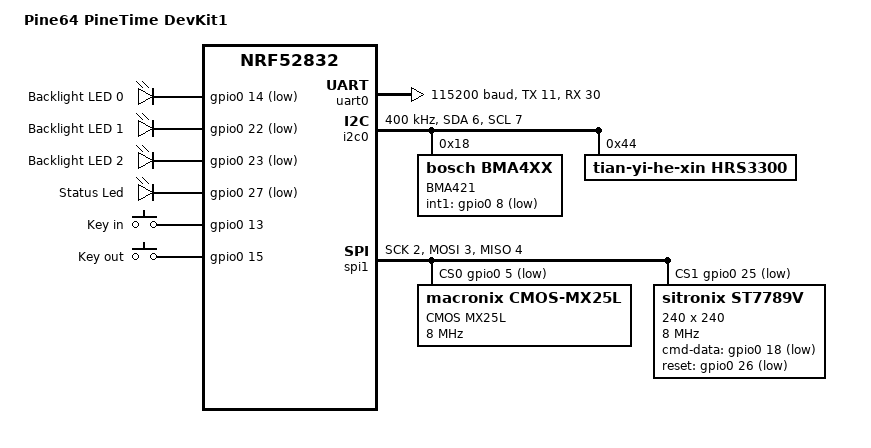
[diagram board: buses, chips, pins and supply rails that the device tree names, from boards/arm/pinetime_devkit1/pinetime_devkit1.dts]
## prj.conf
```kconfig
CONFIG_HEAP_MEM_POOL_SIZE=16384
CONFIG_MAIN_STACK_SIZE=2048

CONFIG_DISPLAY=y
CONFIG_DISPLAY_LOG_LEVEL_ERR=y
CONFIG_LOG=y
CONFIG_LVGL=y
CONFIG_NEWLIB_LIBC=y


# Bluetooth
CONFIG_BT=y
CONFIG_BT_PERIPHERAL=y
#CONFIG_BT_GATT_DIS=y
CONFIG_BT_ATT_PREPARE_COUNT=5
CONFIG_BT_DEVICE_APPEARANCE=833
CONFIG_BT_DEVICE_NAME_DYNAMIC=y
CONFIG_BT_DEVICE_NAME_MAX=65
CONFIG_BT_GATT_CLIENT=y
# Let DIS information be read from settings
CONFIG_BT_SETTINGS=y
CONFIG_SETTINGS_RUNTIME=y
CONFIG_SETTINGS=y
CONFIG_SETTINGS_NONE=y
```

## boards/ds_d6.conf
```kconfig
CONFIG_HEAP_MEM_POOL_SIZE=16384
CONFIG_MAIN_STACK_SIZE=2048

CONFIG_LVGL_FONT_MONTSERRAT_28=n
CONFIG_LVGL_FONT_MONTSERRAT_14=y
#CONFIG_LVGL_DISPLAY_DEV_NAME="SSD1306"

CONFIG_LVGL_USE_LABEL=y
CONFIG_LVGL_USE_CONT=y
CONFIG_LVGL_USE_THEME_MATERIAL=n
CONFIG_LVGL_TXT_ENC_UTF8=y
CONFIG_LVGL_FONT_UNSCII_8=n
CONFIG_LVGL_VDB_SIZE=64
#CONFIG_LVGL_VDB_SIZE=2
CONFIG_USE_SEGGER_RTT=y
CONFIG_LVGL_USE_THEME_MONO=y
CONFIG_LVGL_THEME_DEFAULT_COLOR_PRIMARY_WHITE=y
CONFIG_LVGL_THEME_DEFAULT_COLOR_SECONDARY_BLACK=y
# Time functions
CONFIG_NEWLIB_LIBC=y
#CONFIG_LVGL_POINTER_KSCAN=y
```

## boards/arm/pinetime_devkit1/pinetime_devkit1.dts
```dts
/*
 * Copyright (c) 2021 <najnesnaj@yahoo.com>
 *
 * SPDX-License-Identifier: Apache-2.0
 *
 * DTS for Pine64 PineTime DevKit-1 board
 * Further info: https://wiki.pine64.org/index.php/PineTime
 *
 */

/dts-v1/;
#include <nordic/nrf52832_qfaa.dtsi>

/ {
	model = "Pine64 PineTime DevKit1";
	compatible = "pine64,pinetime-devkit1";

	chosen {
		zephyr,console = &uart0;
		zephyr,shell-uart = &uart0;
		zephyr,bt-mon-uart = &uart0;
		zephyr,bt-c2h-uart = &uart0;
		zephyr,sram = &sram0;
		zephyr,flash = &flash0;
		zephyr,code-partition = &slot0_partition;
	};

	aliases {
		led0 = &blled0;	/* backlight low */
		led1 = &blled1;	/* backlight mid */
		led2 = &blled2;	/* backlight high */
		led3 = &statusled;	/* status led, may be not populated */
		sw0 = &key_in;  /* key in */
		sw1 = &key_out;  /* key out */
/*		kscan0 = &touch_controller;*/
	};

	leds {
		compatible = "gpio-leds";
		blled0: bl_led_0 {
			gpios = <&gpio0 14 GPIO_ACTIVE_LOW>;
			label = "Backlight LED 0";
		};
		blled1: bl_led_1 {
			gpios = <&gpio0 22 GPIO_ACTIVE_LOW>;
			label = "Backlight LED 1";
		};
		blled2: bl_led_2 {
			gpios = <&gpio0 23 GPIO_ACTIVE_LOW>;
			label = "Backlight LED 2";
		};
		statusled: led_3 {
			gpios = <&gpio0 27 GPIO_ACTIVE_LOW>;
			label = "Status Led";
		};
	};

	buttons {
		compatible = "gpio-keys";
		key_in: button_0 {
			gpios = <&gpio0 13 GPIO_ACTIVE_HIGH>;
			label = "Key in";
		};
		key_out: button_1 {
			gpios = <&gpio0 15 GPIO_ACTIVE_HIGH>;
			label = "Key out";
		};
	};
};

&gpiote {
	status = "okay";
};

&gpio0 {
	status = "okay";
};

&uart0 {
	compatible = "nordic,nrf-uart";
	current-speed = <115200>;
	status = "okay";
	tx-pin = <11>;
	rx-pin = <30>;
};

&i2c0 {
	compatible = "nordic,nrf-twim";
	status = "okay";
	sda-pin = <6>;
	scl-pin = <7>;
	clock-frequency = <I2C_BITRATE_FAST>; /* 400KHz */

	/* BOSCH BMA421 Triaxial Acceleration Sensor (1000KHz) */
	bma421: bma421@18 {
		compatible = "bosch,bma4xx";
		reg = <0x18>;
		label = "BMA421";
		int1-gpios = <&gpio0 8 GPIO_ACTIVE_LOW>;
	};

	/* TianYiHeXin HRS3300 PPG Hear Rate Sensor (800KHz) */
	hrs3300: hrs3300@44 {
		compatible = "tian-yi-he-xin,hrs3300";
		reg = <0x44>;
		label = "HRS3300";
	};
        //touch_controller: ft5336@38 {
/*        touch_controller: ft9999@15 {
                compatible = "focaltech,ft9999";
                //reg = <0x38>;
                reg = <0x15>;
                label = "FT9999";
                //int-gpios = <&gpio0 11 GPIO_ACTIVE_LOW>;
                int-gpios = <&gpio0 28 GPIO_ACTIVE_LOW>;
		//rst-gpios = <&gpio0 10 GPIO_ACTIVE_LOW>;
        };
*/
	/* Hynitron CST816S Capacitive Touch Controller (400KHz) */
/*	cst816s: cst816s@15 {
		compatible = "hynitron,cst816s";
		reg = <0x15>;
		label = "CST816S";
		irq-gpios = <&gpio0 28 GPIO_ACTIVE_LOW>;
		rst-gpios = <&gpio0 10 GPIO_ACTIVE_LOW>;
	};*/
};

&spi1 {
	compatible = "nordic,nrf-spi";
	status = "okay";
	sck-pin = <2>;
	mosi-pin = <3>;
	miso-pin = <4>;

	cs-gpios = <&gpio0 5 GPIO_ACTIVE_LOW>, <&gpio0 25 GPIO_ACTIVE_LOW>;

	/* Macronix MX25L CMOS Flash Memory */
	mx25l: mx25l@0 {
		compatible = "macronix,cmos-mx25l";
		reg = <0>;
		spi-max-frequency = <8000000>; /* 8MHz */
		label = "CMOS MX25L";
	};

	/* Sitronix ST7789V LCD */
	st7789v: st7789v@1 {
		compatible = "sitronix,st7789v";
		reg = <1>;
		spi-max-frequency = <8000000>; /* 8MHz */
		label = "ST7789V";
		cmd-data-gpios = <&gpio0 18 GPIO_ACTIVE_LOW>;	/* DET */
		reset-gpios = <&gpio0 26 GPIO_ACTIVE_LOW>;	/* RESX reset */
		width = <240>;
		height = <240>;
		x-offset = <0>;
		y-offset = <0>;
		vcom = <0x19>;
		gctrl = <0x35>;
		vrhs = <0x12>;
		vdvs = <0x20>;
		mdac = <0x00>;
		gamma = <0x01>;
		colmod = <0x05>;
		lcm = <0x2c>;
		porch-param = [0c 0c 00 33 33];
		cmd2en-param = [5a 69 02 01];
		pwctrl1-param = [a4 a1];
		pvgam-param = [D0 04 0D 11 13 2B 3F 54 4C 18 0D 0B 1F 23];
		nvgam-param = [D0 04 0C 11 13 2C 3F 44 51 2F 1F 1F 20 23];
		ram-param = [00 F0];
		rgb-param = [CD 08 14];
	};
};

&flash0 {
	partitions {
		compatible = "fixed-partitions";
		#address-cells = <1>;
		#size-cells = <1>;

		/* MCUboot bootloader */
		boot_partition: partition@0 {
			label = "mcuboot";
			reg = <0x00000000 0xc000>;
		};

		/* main firmware partition */
		slot0_partition: partition@c000 {
			label = "image-0";
			reg = <0x0000C000 0x32000>;
		};

		/* next firmware update */
		slot1_partition: partition@3e000 {
			label = "image-1";
			reg = <0x0003E000 0x32000>;
		};

		/* needed to slot0-slot1 swapping */
		scratch_partition: partition@70000 {
			label = "image-scratch";
			reg = <0x00070000 0xa000>;
		};

		/* to be used in firmware */
		storage_partition: partition@7a000 {
			label = "storage";
			reg = <0x0007a000 0x00006000>;
		};
	};
};
```

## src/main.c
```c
/*

 * Copyright (c) 2021 <najnesnaj@yahoo.com>
 *
 * SPDX-License-Identifier: Apache-2.0
 */

#include <device.h>
#include <drivers/display.h>
#include <drivers/gpio.h>
#include <lvgl.h>
#include <stdio.h>
#include <string.h>
#include <zephyr.h>
#include "clock.h"
#include "log.h"
#include "display.h"
#include "event_handler.h"
#include "bt.h"

void main(void)
{
#if !(defined(CONFIG_BOARD_NATIVE_POSIX_64BIT)) //both the pinetime & ds_d6 have a real button 
	{
		init_button();
	}
#endif
	display_init();
	clock_init();
	event_handler_init();
        bt_init();
	while (1) {
		lv_task_handler();
		k_sleep(K_MSEC(100));
	}
}
```

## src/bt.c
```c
/*
 * Copyright (c) 2012-2014 Wind River Systems, Inc.
 * Copyright (c) 2015-2016 Intel Corporation
 * Copyright (c) 2020 Endian Technologies AB
 * Copyright (c) 2020 max00
 * Copyright (c) 2020 Prevas A/S
 * Copyright (c) 2021 najnesnaj@yahoo.com 
 * 
 * SPDX-License-Identifier: Apache-2.0
 */

#include <zephyr/types.h>
#include <stddef.h>
#include <stdbool.h>
#include <string.h>
#include <sys/byteorder.h>
#include <zephyr.h>

#include <settings/settings.h>

#include <bluetooth/bluetooth.h>
#include <bluetooth/hci.h>
#include <bluetooth/conn.h>
#include <bluetooth/uuid.h>
#include <bluetooth/gatt.h>

#ifdef CONFIG_MCUMGR
#include <mgmt/smp_bt.h>
#endif

#include "cts_sync.h"
#include "gfx.h"
#include "log.h"
#include "version.h"
#include "clock.h" //clock_show_time
#include "display.h"
/* ********** Function prototypes ********** */
static void connected(struct bt_conn *conn, uint8_t err);
static void disconnected(struct bt_conn *conn, uint8_t reason);
static bool le_param_req(struct bt_conn *conn, struct bt_le_conn_param *param);
static void le_param_updated(struct bt_conn *conn, uint16_t interval, uint16_t latency, uint16_t timeout);

/* ********** Variables ********** */

static struct k_work advertise_work;

static const struct bt_data ad[] = {
	BT_DATA_BYTES(BT_DATA_FLAGS, (BT_LE_AD_GENERAL | BT_LE_AD_NO_BREDR)),
	/* Device information */
	BT_DATA_BYTES(BT_DATA_UUID16_ALL,
		      0x0a, 0x18),
	/* Current time */
	BT_DATA_BYTES(BT_DATA_UUID16_ALL,
		      //0x05, 0x18),
		      0x06, 0x18),
#ifdef CONFIG_MCUMGR
	/* SMP */
	BT_DATA_BYTES(BT_DATA_UUID128_ALL,
		      0x84, 0xaa, 0x60, 0x74, 0x52, 0x8a, 0x8b, 0x86,
		      0xd3, 0x4c, 0xb7, 0x1d, 0x1d, 0xdc, 0x53, 0x8d),
#endif
};

static struct bt_conn_cb m_conn_callbacks = {
	.connected = connected,
	.disconnected = disconnected,
	.le_param_req = le_param_req,
	.le_param_updated = le_param_updated
};

static struct bt_le_adv_param param = BT_LE_ADV_PARAM_INIT(
	BT_LE_ADV_OPT_CONNECTABLE | BT_LE_ADV_OPT_USE_NAME,
	BT_GAP_ADV_SLOW_INT_MIN,
	BT_GAP_ADV_SLOW_INT_MAX,
	NULL
);

/* ********** Functions ********** */
static int settings_runtime_load(void)
{/*
#if defined(CONFIG_BOARD_PINETIME)
	settings_runtime_set("bt/dis/model",
			     "PineTime",
			     sizeof("PineTime"));
	settings_runtime_set("bt/dis/manuf",
			     "PINE64",
			     sizeof("PINE64"));
	settings_runtime_set("bt/dis/hw",
			     "1.0a",
			     sizeof("1.0a"));
#endif
#if defined(CONFIG_BOARD_P8)
	settings_runtime_set("bt/dis/model",
			     "P8",
			     sizeof("P8"));
	settings_runtime_set("bt/dis/manuf",
			     "Colmi",
			     sizeof("Colmi"));
#endif
#if defined(CONFIG_BOARD_DS_D6)
	settings_runtime_set("bt/dis/model",
			     "ds_d6",
			     sizeof("ds_d6"));
	settings_runtime_set("bt/dis/manuf",
			     "Desay",
			     sizeof("desay"));
#endif
#if defined(CONFIG_BOARD_NATIVE_POSIX_64)
	settings_runtime_set("bt/dis/model",
			     "posix_64",
			     sizeof("posix_64"));
	settings_runtime_set("bt/dis/manuf",
			     "Native",
			     sizeof("Native"));
#endif
	*/
	settings_runtime_set("bt/dis/sw",
			     CONFIG_BT_DEVICE_NAME,
			     sizeof(CONFIG_BT_DEVICE_NAME));
	settings_runtime_set("bt/dis/fw",
			     FW_VERSION,
			     sizeof(FW_VERSION));
	return 0;
}

static void advertise(struct k_work *work)
{
	int rc;

	bt_le_adv_stop();

	rc = bt_le_adv_start(&param, ad, ARRAY_SIZE(ad), NULL, 0);
	if (rc) {
		LOG_ERR("Advertising failed to start (rc %d)", rc);
		return;
	}

	LOG_INF("Advertising successfully started");
}

static void connected(struct bt_conn *conn, uint8_t err)
{
	printk("test\n");
	if (err) {
		return;
	}
	LOG_INF("connected");
	cts_sync_enable(true);
	display_connect_event();
	//delay of some sort    todo jj
	clock_show_time();
}

static void disconnected(struct bt_conn *conn, uint8_t reason)
{
	LOG_INF("disconnected (reason: %u)", reason);
	cts_sync_enable(false);
	display_disconnect_event(); //shows first screen
	//display_set_bluetooth_disconnected(); //bt-symbol is displayed -- readability is not top...
	//gfx_bt_set_label(BT_ADVERTISING_ON);
	//gfx_update();
}

static bool le_param_req(struct bt_conn *conn, struct bt_le_conn_param *param)
{
	return true;
}

static void le_param_updated(struct bt_conn *conn, uint16_t interval, uint16_t latency, uint16_t timeout)
{

}

void bt_init(void)
{
	int err = bt_enable(NULL);
	if (err) {
		LOG_ERR("Bluetooth init failed (err %d)", err);
		return;
	}

	settings_load();
	settings_runtime_load();

	k_work_init(&advertise_work, advertise);
	bt_conn_cb_register(&m_conn_callbacks);
		LOG_INF("bt init callback started\n");

	k_work_submit(&advertise_work);
#ifdef CONFIG_MCUMGR
	/* Initialize the Bluetooth mcumgr transport. */
	smp_bt_register();
#endif
	cts_sync_init();

	LOG_INF("Bluetooth initialized"); //jj
	LOG_DBG("Bluetooth initialized");
}

void bt_adv_stop(void)
{
	k_sleep(K_MSEC(400));

	int err = bt_le_adv_stop();
	if (err) {
		LOG_ERR("Advertising failed to stop (err %d)", err);
		return;
	}
}
```

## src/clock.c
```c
/*
 * Copyright (c) 2021 najnesnaj@yahoo.com
 *
 * SPDX-License-Identifier: Apache-2.0
 */

#include <zephyr.h>
#include <time.h>
#include <stdio.h>
#include <stdlib.h>
#include <zephyr/types.h>
#include "battery.h"
#include "bt.h"
#include "version.h"
#include "cts_sync.h"
#include "log.h"
#include "event_handler.h"
#include "display.h"

/* ********** ********** VARIABLES ********** ********** */
static char time_label_str[32];
static char date_label_str[32];
typedef unsigned long long  u64_t;

static u64_t uptime_ms;
static u64_t last_uptime_ms;
static u64_t elapsed_ms;

static struct tm ti = {
	.tm_sec = 0,
	.tm_min = 0,
	.tm_hour = 0,
	.tm_mday = 0,
	.tm_mon = 0,
	.tm_year = 0,
	.tm_wday = 0,
};

static struct tm calendar1 = {
        .tm_sec = 0,
        .tm_min = 0,
        .tm_hour = 0,
        .tm_mday = 0,
        .tm_mon = 0,
        .tm_year = 0,
        .tm_wday = 0,
};


/* ********** ********** FUNCTIONS *********** ********** */
void clock_str_to_local_time(const char *str)
{
	if (sscanf(str, "%d-%d-%dT%d:%d:%d", &ti.tm_year, &ti.tm_mon,
		   &ti.tm_mday, &ti.tm_hour, &ti.tm_min, &ti.tm_sec) != 6) {
		LOG_ERR("Failed to parse time of build.");
	}
	ti.tm_year-=1900;
	ti.tm_mon-=1;
	mktime(&ti);
}

void clock_init()
{
	/* Set time to time of build */
	clock_str_to_local_time(TIME_OF_BUILD);
	LOG_DBG("Time set to time of build");
	LOG_DBG("Clock init: Done");
}

void clock_update_elapsed_ms()
{
	uptime_ms = k_uptime_get();
	elapsed_ms = uptime_ms - last_uptime_ms;
	last_uptime_ms = uptime_ms;
	LOG_INF("Clock updated: "); //jj
}

/* Called by cts sync */
void clock_sync_time(cts_datetime_t *cts)
{
	calendar1.tm_year = cts->year -1900;
	calendar1.tm_mon = cts->month -1;
	calendar1.tm_mday = cts->day;
	calendar1.tm_hour = cts->hours;
	calendar1.tm_min = cts->minutes;
	calendar1.tm_sec = cts->seconds;
//	mktime(&calendar1);
//	clock_update_elapsed_ms();
}

/* Called by event handler */
void clock_increment_local_time()
{
	clock_update_elapsed_ms();
	ti.tm_sec += elapsed_ms / 1000;
	mktime(&ti);
}

void clock_show_time()
{
	strftime(time_label_str, 32, "%H:%M", &ti);
	strftime(date_label_str, 32, "%a %d %b", &ti);
	display_time_set_label(time_label_str);
	display_date_set_label(date_label_str);
}
```

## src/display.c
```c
/*
 * Copyright (c) 2021 <najnesnaj@yahoo.com>
 *
 * SPDX-License-Identifier: Apache-2.0
 */

#include <device.h>
#include <drivers/display.h>
#include <drivers/gpio.h>
#include <lvgl.h>
#include <stdio.h>
#include <string.h>
#include <zephyr.h>

#include "display.h"
#include "buttons.h"
#include "clock.h"
#include "event_handler.h"
#include <logging/log.h>
LOG_MODULE_REGISTER(display, 3);

const static struct device * display_dev;

#define SCREEN_ID_0    0
#define SCREEN_ID_1    1
#define SCREEN_ID_2    2
#define SCREEN_ID_3    3
//#define SCREEN_COUNT   4 //last screen reserved for bt connect event
#define SCREEN_COUNT   3


#define PARAM_TOTAL 6 //total number of parameters


char * param_label[] = {
        "temp1",
        "timer1",
        "temp2",
        "timer2",
        "temp3",
        "timer3"
};

int param[6]={10,20,30,40,50,60};





enum battery_symbol {
        BAT_CHARGE,
        BAT_FULL,
        BAT_3,
        BAT_2,
        BAT_1,
        BAT_EMPTY
};

/*

void display_timer_handler(struct k_timer * timer);
void display_task_handler(struct k_work * work);

K_TIMER_DEFINE(display_timer, display_timer_handler, NULL);

K_WORK_DEFINE(display_work, display_task_handler);

#define TICK_PERIOD   (10)

void display_task_handler(struct k_work * work)
{
	lv_tick_inc(TICK_PERIOD);
	lv_task_handler();
}

void display_timer_handler(struct k_timer * timer)
{
	k_work_submit(&display_work);
}

*/

typedef struct {
	lv_obj_t * screen;
	int        count;
} screens_t;

/*---------------------------------------------------------------------------*/

static lv_obj_t   * button_obj;
static lv_obj_t   * screen0_label0_obj;
static lv_obj_t *time_label;
static lv_obj_t *date_label;
static lv_obj_t *title_label;
static lv_obj_t *battery_label;
static lv_obj_t *date_label;




static lv_obj_t   * screen1_label0_obj; 
static lv_obj_t   * screen1_label1_obj; 

//static lv_obj_t   * screen2_label0_obj; 
static lv_obj_t   * screen2_label1_obj; 
static lv_obj_t   * screen2_label2_obj; 

static screens_t screens [] = {
	{ .screen = NULL, .count = 1 },
	{ .screen = NULL, .count = 2 },
	{ .screen = NULL, .count = 3 },
	{ .screen = NULL, .count = 0 },
};
#define SCREENS_COUNT (sizeof(screens)/sizeof(screens[0]))

/*---------------------------------------------------------------------------*/
/*                                                                           */
/*---------------------------------------------------------------------------*/
void display_time_set_label(char *str)
{
	lv_label_set_text(time_label, str);
}
void display_date_set_label(char *str)
{
	lv_label_set_text(date_label, str);
}


//parameters are displayed on screen2
void display_label()
{
        screen2_label1_obj=lv_label_create(lv_scr_act(), NULL);
        lv_obj_align(screen2_label1_obj, lv_scr_act(), LV_ALIGN_IN_TOP_LEFT, 0, 0);
        screen2_label2_obj=lv_label_create(lv_scr_act(), NULL);
        lv_obj_align(screen2_label2_obj, lv_scr_act(), LV_ALIGN_IN_TOP_RIGHT, 0, 0);
}


void show_label(int parnr)
{
        char snum[5];
        sprintf(snum, "%d",param[parnr]);
        lv_label_set_text(screen2_label1_obj, param_label[parnr]);
        lv_label_set_text(screen2_label2_obj, snum);
}







void display_clock_update() // jj the clock apears in the first screen only 
{
             //                                   lv_scr_load(screens[0].screen);



}

/*---------------------------------------------------------------------------*/
/*        todo                                                               */
/*        kscan_touch works for pinetime                                     */
/*        have not found a way to do this out of tree                        */
/*        some minor modification of the focaltech driver is needed          */
/*---------------------------------------------------------------------------*/
/*
#if defined(CONFIG_LVGL_POINTER_KSCAN) 


static void button_event_cb(lv_obj_t * obj, lv_event_t event)
{
	static int screen_id = 0;  // init to first screen id
	static int param_id  = 0;  // init to first parameter index

	switch(event) {
		case LV_EVENT_PRESSED:
			break; 
		case LV_EVENT_SHORT_CLICKED:
			LOG_INF("Short clicked\n");
			break;

		case LV_EVENT_CLICKED:
			clock_increment_local_time();

			LOG_INF("Clicked\n");
			break;

		case LV_EVENT_LONG_PRESSED:
			clock_increment_local_time();
			clock_show_time();
			LOG_INF("Long press\n");
			break;

		case LV_EVENT_LONG_PRESSED_REPEAT:

			//this can be configured in menuconfig 
			//standard value < long_pressed
						screen_id++;
						if (screen_id >= SCREEN_COUNT)
						screen_id = 0;
						lv_scr_load(screens[screen_id].screen);
						param_id = 0;
						LOG_INF("BTN1: screen_id(%d)", screen_id);
			//   handle_button_event();



			LOG_INF("Long press repeat\n");
			break;

		case LV_EVENT_RELEASED:
			LOG_INF("Released\n");
			break;
	}

}
#endif
*/

/*---------------------------------------------------------------------------*/
/*                                                                           */
/*---------------------------------------------------------------------------*/
//todo if no touch screen define real button ds_d6




void display_battery(enum battery_symbol s)
{
        switch (s) {
                case BAT_CHARGE:
                        lv_label_set_text(battery_label, LV_SYMBOL_CHARGE);
                        break;
                case BAT_FULL:
                        lv_label_set_text(battery_label, LV_SYMBOL_BATTERY_FULL);
                        break;
                case BAT_3:
                        lv_label_set_text(battery_label, LV_SYMBOL_BATTERY_3);
                        break;
                case BAT_2:
                        lv_label_set_text(battery_label, LV_SYMBOL_BATTERY_2);
                        break;
                case BAT_1:
                        lv_label_set_text(battery_label, LV_SYMBOL_BATTERY_1);
                        break;
                default:
                        lv_label_set_text(battery_label, LV_SYMBOL_BATTERY_EMPTY);
        }
}






void display_button()
{
	/* the ds_d6 has a real button and no touchscreen, so no need for lvgl-button */
#if defined(CONFIG_LVGL_POINTER_KSCAN)
//#if defined(CONFIG_BOARD_NATIVE_POSIX_64BIT)
	button_obj = lv_btn_create(lv_scr_act(), NULL);
	lv_obj_set_width(button_obj, 5);
	lv_obj_set_height(button_obj, 5);
	//lv_obj_align(button_obj, NULL, LV_ALIGN_CENTER, 128, 0);
	lv_obj_align(button_obj, NULL, LV_ALIGN_IN_RIGHT_MID, 0, 0);
	lv_btn_set_fit(button_obj, LV_FIT_TIGHT);
	screen0_label0_obj = lv_label_create(button_obj, NULL);
	lv_label_set_text(screen0_label0_obj, "O"); //substitute for real switch on physical watch
	lv_obj_set_event_cb(button_obj, button_event_cb);
#endif

}

void display_connect_event()
{
//      LOG_INF("display_connect_event");
        lv_scr_load(screens[3].screen); //display the CTS screen
//      lv_task_handler();//jj

}

void display_disconnect_event()
{
        lv_scr_load(screens[0].screen); //display the first screen
}





void display_btn_event(buttons_id_t btn_id)
{
	static int screen_id = 0;  // init to first screen id
	static int param_id  = 0;  // init to first parameter index

	//LOG_INF("%s: BTN%d", __func__, btn_id);

	switch (btn_id) {

		case BTN1_LONG:
			screen_id++;
			if (screen_id >= SCREEN_COUNT)
				screen_id = 0;
			lv_scr_load(screens[screen_id].screen);
			param_id = 0;
			LOG_INF("BTN1: screen_id(%d)", screen_id);
			break;

		case BTN1_SHORT:
			param_id++;
			if (param_id >= PARAM_TOTAL)  param_id = 0;
			show_label(param_id);
	//		if (param_id < 0)                          param_id = 0;
			LOG_INF("BTN2: screen_id(%d) param_id(%d)", screen_id, param_id);
			break;


		default:
			break;
	}
}

/*---------------------------------------------------------------------------*/
/*                                                                           */
/*---------------------------------------------------------------------------*/
void display_screens_init(void)
{
	screens[0].screen = lv_obj_create(NULL, NULL);
	screens[1].screen = lv_obj_create(NULL, NULL);
	screens[2].screen = lv_obj_create(NULL, NULL);
	screens[3].screen = lv_obj_create(NULL, NULL);

	// lv_theme_t * mono = lv_theme_mono_init(0, NULL);
	// lv_theme_set_current(mono);

	/*
	 *  build basic screen0
	 */
	lv_scr_load(screens[0].screen);
	lv_obj_t * screen0_label = lv_label_create(lv_scr_act(), NULL);
	lv_label_set_text(screen0_label, "Pg1");
	lv_obj_align(screen0_label, screens[0].screen, LV_ALIGN_IN_TOP_RIGHT, 0, 0);
	/* the ds_d6 has a real button and no touchscreen, so no need for lvgl-button */
	display_button();

	/* Time label */
	time_label = lv_label_create(lv_scr_act(), NULL);
	lv_obj_align(time_label, NULL, LV_ALIGN_IN_TOP_MID, 0, 0); //jj
	lv_label_set_text(time_label, "00:00");
	/* Date label */
	date_label = lv_label_create(lv_scr_act(), NULL);
	lv_obj_align(date_label, NULL, LV_ALIGN_IN_BOTTOM_MID, 0, 0);
	lv_label_set_text(date_label, "Mon 10 Jan");

	/* title label */
	title_label = lv_label_create(lv_scr_act(), NULL);
	lv_obj_align(title_label, NULL, LV_ALIGN_IN_TOP_LEFT, 0, 0);
	//lv_label_set_text(title_label, LV_SYMBOL_BLUETOOTH"symb");
	//lv_label_set_text(title_label, LV_SYMBOL_BLUETOOTH);
	lv_label_set_text(title_label, LV_SYMBOL_WIFI);

	/* Battery label */
	//display_battery(3);
	battery_label = lv_label_create(lv_scr_act(), NULL);
	display_battery(BAT_3); //todo just demo value -- need real level
	//lv_label_set_text(battery_label, LV_SYMBOL_BATTERY_2);
        lv_obj_align(battery_label, NULL, LV_ALIGN_IN_BOTTOM_LEFT, 0, 0);

	//battery_label = lv_label_create(lv_scr_act(), NULL);
	//lv_obj_align(battery_label, NULL, LV_ALIGN_IN_TOP_MID, 0, 0);
	//lv_label_set_text(battery_label, LV_SYMBOL_BATTERY_EMPTY);


	//	lv_obj_t * mask = lv_img_create(lv_scr_act(), NULL);
	//	lv_img_set_src(mask, &mask);
	//	lv_obj_align(mask, NULL, LV_ALIGN_CENTER, 0, 0);


	//  hello_world_label = lv_label_create(hello_world_button, NULL);
	// printf("pointer enabled\n");
	// lv_label_set_text(hello_world_label, "O"); //substitute for real switch on physical watch
	//screen0_slider_obj = lv_slider_create(lv_scr_act(), NULL);
	//lv_obj_set_height(screen0_slider_obj, 10);
	//lv_obj_set_width(screen0_slider_obj, 110);
	//lv_obj_align(screen0_slider_obj, NULL, LV_ALIGN_CENTER, 0, 0);
	//lv_slider_set_value(screen0_slider_obj, 15, LV_ANIM_ON);
	//screen0_slider_value = 15;

	/*
	 *  build basic screen1
	 */
	lv_scr_load(screens[1].screen);
	lv_obj_t * screen1_page = lv_label_create(lv_scr_act(), NULL);
	lv_label_set_text(screen1_page, "Pg2");
	lv_obj_align(screen1_page, screens[1].screen, LV_ALIGN_IN_TOP_RIGHT, 0, 0);

	// to avoid creating the same button all over again jj
	display_button();

	screen1_label0_obj = lv_label_create(lv_scr_act(), NULL);
	lv_label_set_text(screen1_label0_obj, "0");
	lv_obj_align(screen1_label0_obj, screens[1].screen, LV_ALIGN_IN_BOTTOM_LEFT, 5, -5);

	screen1_label1_obj = lv_label_create(lv_scr_act(), NULL);
	lv_label_set_text(screen1_label1_obj, "0");
	lv_obj_align(screen1_label1_obj, screens[1].screen, LV_ALIGN_IN_BOTTOM_RIGHT, -15, -5);

	//	lv_obj_t * icon_1 = lv_img_create(lv_scr_act(), NULL);
	//	lv_img_set_src(icon_1, &icon1);
	//	lv_obj_align(icon_1, NULL, LV_ALIGN_CENTER, 0, 0);

	/*
	 *  build basic screen2
	 */
	lv_scr_load(screens[2].screen);
	lv_obj_t * screen2_page = lv_label_create(lv_scr_act(), NULL);
	lv_label_set_text(screen2_page, "Pg3");
	lv_obj_align(screen2_page, screens[2].screen, LV_ALIGN_IN_BOTTOM_LEFT, 0, 0);
	// why define the same button all over again? jj
	display_button();
        display_label(); //parameters on screen 2
	show_label(1); //show first parameters on list --short click to scroll
	//
//	lv_obj_t * screen2_label0_tag = lv_label_create(lv_scr_act(), NULL);
//	lv_label_set_text(screen2_label0_tag, "value-0");
//	lv_obj_align(screen2_label0_tag, screens[2].screen, LV_ALIGN_IN_TOP_RIGHT, -70, 2);

//	screen2_label0_obj = lv_label_create(lv_scr_act(), NULL);
//	lv_label_set_text(screen2_label0_obj, "0");
//	lv_obj_align(screen2_label0_obj, screens[2].screen, LV_ALIGN_IN_TOP_RIGHT, -45, 2);

	//
//	lv_obj_t * screen2_label1_tag = lv_label_create(lv_scr_act(), NULL);
//	lv_label_set_text(screen2_label1_tag, "value-1");
//	lv_obj_align(screen2_label1_tag, screens[2].screen, LV_ALIGN_IN_RIGHT_MID, -70, 0);

//	screen2_label1_obj = lv_label_create(lv_scr_act(), NULL);
//	lv_label_set_text(screen2_label1_obj, "0");
//	lv_obj_align(screen2_label1_obj, screens[2].screen, LV_ALIGN_IN_RIGHT_MID, -45, 0);

	//
//	lv_obj_t * screen2_value2_tag = lv_label_create(lv_scr_act(), NULL);
//	lv_label_set_text(screen2_value2_tag, "value-2");
//	lv_obj_align(screen2_value2_tag, screens[2].screen, LV_ALIGN_IN_BOTTOM_RIGHT, -70, -2);

//	screen2_label2_obj = lv_label_create(lv_scr_act(), NULL);
//	lv_label_set_text(screen2_label2_obj, "0");
//	lv_obj_align(screen2_label2_obj, screens[2].screen, LV_ALIGN_IN_BOTTOM_RIGHT, -45, -2);

	//#if 0
	//	lv_obj_t * icon_2 = lv_img_create(lv_scr_act(), NULL);
	//	lv_img_set_src(icon_2, &icon2);
	//#endif

	/*
	 *  build basic screen3
	 */
	lv_scr_load(screens[3].screen);
	lv_obj_t * screen3_page = lv_label_create(lv_scr_act(), NULL);
	lv_label_set_text(screen3_page, "BT");
	lv_obj_align(screen3_page, screens[3].screen, LV_ALIGN_IN_TOP_RIGHT, 0, 0);
        /* Bluetooth label */
        title_label = lv_label_create(lv_scr_act(), NULL);
        lv_obj_align(title_label, NULL, LV_ALIGN_IN_TOP_LEFT, 0, 0);
        lv_label_set_text(title_label, LV_SYMBOL_BLUETOOTH);

	// why define the same button all over again? jj
	display_button();

	//	lv_obj_t * icon_3 = lv_img_create(lv_scr_act(), NULL);
	//	lv_img_set_src(icon_3, &icon3);
	//	lv_obj_align(icon_3, NULL, LV_ALIGN_CENTER, 0, 0);
}

/*---------------------------------------------------------------------------*/
/*                                                                           */
/*---------------------------------------------------------------------------*/
#if defined(CONFIG_BOARD_PINETIME_DEVKIT1)


#define LED0_NODE DT_ALIAS(led1)

#if DT_NODE_HAS_STATUS(LED0_NODE, okay)
#define LED0    DT_GPIO_LABEL(LED0_NODE, gpios)
#define PIN     DT_GPIO_PIN(LED0_NODE, gpios)
#define FLAGS   DT_GPIO_FLAGS(LED0_NODE, gpios)
#endif
#endif

static void backlight_switch(bool enable)
{
#if defined(CONFIG_BOARD_PINETIME_DEVKIT1)

	const struct device *dev;

	dev = device_get_binding(LED0);
	/* If you have a backlight, set it up and turn it on here */
	gpio_pin_configure(dev, PIN, GPIO_OUTPUT_ACTIVE | FLAGS);
	//   gpio_pin_configure(dev, LED, GPIO_DIR_OUT);
	if (enable==true) 
	gpio_pin_set(dev, PIN, 1);
	else
	gpio_pin_set(dev, PIN, 0);
	//gpio_pin_write(dev, LED, 0);
#endif
}




int display_init(void)
{
//#if defined(CONFIG_BOARD_PINETIME_DEVKIT1)
	backlight_switch(true); //jj check which board has backlight is done in procedure
//#endif
	display_dev = device_get_binding(CONFIG_LVGL_DISPLAY_DEV_NAME);

	if (display_dev == NULL) {
		LOG_ERR("device not found. %s", CONFIG_LVGL_DISPLAY_DEV_NAME);
		return -1;
	}

	//lv_init();

	display_screens_init();

	/*
	 *  First screen will be screen1
	 */
	lv_scr_load(screens[0].screen);

	/*
	 *  Turn on display
	 */
	lv_task_handler();//jj
	display_blanking_off(display_dev);

	/* 
	 * Register for button press notifications.
	 */
	//buttons_register_notify_handler(display_btn_event);

	/*
	 *  Start task handler timer loop
	 */
//	k_timer_start(&display_timer, K_MSEC(TICK_PERIOD), K_MSEC(TICK_PERIOD));

	return 0;
};
```

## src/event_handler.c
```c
/*
 * Copyright (c) 2021 najnesnaj@yahoo.com
 *
 * SPDX-License-Identifier: Apache-2.0
 */

#include <zephyr.h>
#include <drivers/gpio.h>
#include <drivers/sensor.h>
#include <stdbool.h>
#include "battery.h"
#include "bt.h"
#include "clock.h"
#include "display.h"
#include "event_handler.h"
#include "log.h"
#include "buttons.h"

/* ********** defines ********** */
#define BAT_CHA 2 //jj
#define BTN_PORT DT_GPIO_LABEL(DT_ALIAS(sw0), gpios)
#define BTN_IN  DT_GPIO_PIN(DT_ALIAS(sw0), gpios)
#define BTN_OUT 3 //jj 
#define EDGE    (GPIO_INT_EDGE | GPIO_INT_DOUBLE_EDGE)
#define PULL_UP DT_GPIO_FLAGS(DT_ALIAS(sw0), gpios)
#define DISPLAY_TIMEOUT K_SECONDS(500) //jj suppose you leave display on -- time should be updated
#define CLOCK_UPDATE K_SECONDS(20) //jj every minute clock should get update 
/* ********** ******* ********** */

/* ********** variables ********** */
static struct k_timer clock_update_timer; //jj

/* ********** ******* ********** */
/* setup buttons **** ********** */
/* ********** ******* ********** */

//when used with the native_posix_64 virtual device there are no buttons ...
//#if !(defined(CONFIG_BOARD_NATIVE_POSIX_64BIT))

#define SW0_NODE        DT_ALIAS(sw0)

#if DT_NODE_HAS_STATUS(SW0_NODE, okay)
#define SW0_GPIO_LABEL  DT_GPIO_LABEL(SW0_NODE, gpios)
#define SW0_GPIO_PIN    DT_GPIO_PIN(SW0_NODE, gpios)
#define SW0_GPIO_FLAGS  (GPIO_INPUT | DT_GPIO_FLAGS(SW0_NODE, gpios))
#else
//#error "Unsupported board: sw0 devicetree alias is not defined"
#define SW0_GPIO_LABEL  ""
#define SW0_GPIO_PIN    0
#define SW0_GPIO_FLAGS  0
#endif

#if defined(CONFIG_BOARD_PINETIME_DEVKIT1) //pinetime needs port 15 high for switch to work
#define SW1_NODE        DT_ALIAS(sw1)
#define SW1_GPIO_PIN    DT_GPIO_PIN(SW1_NODE, gpios)
#define SW1_GPIO_FLAGS  (GPIO_OUTPUT | DT_GPIO_FLAGS(SW1_NODE, gpios))
#define BUTTON_THRESH 4 //threshold to distinguish between short and long press
#define BUTTON_DOUBLE_THRESH 2 //double click
#endif

#if defined(CONFIG_BOARD_NATIVE_POSIX_64BIT)
#define BUTTON_THRESH 6 //threshold to distinguish between short and long press
//when used in a real watch it will probable have to be less
#define BUTTON_DOUBLE_THRESH 12 //double click
#endif

#if defined(CONFIG_BOARD_DS_D6)
#define BUTTON_THRESH 3 //threshold to distinguish between short and long press
#define BUTTON_DOUBLE_THRESH 2 //double click
#endif



static uint8_t button_press_cnt;
//struct k_timer button_timer;




//when the timer expires the number of presses is analysed
void button_timer_handler(struct k_timer *dummy)
{
	LOG_INF("timer expired\n");
	LOG_INF("press count %d\n", button_press_cnt);
	if (button_press_cnt >= BUTTON_DOUBLE_THRESH){
		LOG_INF("long press\n");
		display_btn_event(BTN1_LONG);
	}
	if (button_press_cnt <= BUTTON_THRESH){ //short press is used to scroll trough the labels with their value
		LOG_INF("short press\n");
		display_btn_event(BTN1_SHORT);
		//  show_label(label_select_cnt);
		//  label_select_cnt++;
		// if (label_select_cnt ==  PARAM_TOTAL) label_select_cnt=0;
	}
	if ((button_press_cnt > BUTTON_THRESH) && (button_press_cnt < BUTTON_DOUBLE_THRESH)){
		LOG_INF("double click\n");
	}
	button_press_cnt=0;


}

/*timer used to detect lenght of pushing*/
struct k_timer button_timer;
K_TIMER_DEFINE(button_timer, button_timer_handler,NULL);





void button_pressed(const struct device *dev, struct gpio_callback *cb,
		uint32_t pins)
{
	buttons_id_t btn_id;

	LOG_INF("Button pressed at %" PRIu32 "\n", k_cycle_get_32());

	if (button_press_cnt == 0U) {
		k_timer_start(&button_timer, K_SECONDS(1), K_NO_WAIT);
		btn_id=BTN1_SHORT;
	}

	if (k_timer_status_get(&button_timer) > 0) {
		/* timer has expired */
		//display_btn_event(BTN1_SHORT);
		button_press_cnt=0;
	} else  {
		/* timer still running */
		button_press_cnt++;
	}



}

//this is used in case of native_posix -- virtual button
//static void button_event_cb(lv_obj_t * obj, lv_event_t event)
void button_event_cb(lv_obj_t * obj, lv_event_t event)
//static void button_event_cb(void)
{

        LOG_INF("Button pressed at %" PRIu32 "\n", k_cycle_get_32());
        if (button_press_cnt == 0U) {
                k_timer_start(&button_timer, K_SECONDS(1), K_NO_WAIT);
                printf("Buttontime started" );
        }

        if (k_timer_status_get(&button_timer) > 0) {
                button_press_cnt=0;
        } else  {
                /* timer still running */
                button_press_cnt++;
        }

}


static struct gpio_callback button_cb_data;

void init_button(void)
{
	const struct device *button;
	int ret;
	button = device_get_binding(SW0_GPIO_LABEL);
	if (button == NULL) {
		printk("Error: didn't find %s device\n", SW0_GPIO_LABEL);
		return;
	}

	ret = gpio_pin_configure(button, SW0_GPIO_PIN, SW0_GPIO_FLAGS);
	if (ret != 0) {
		printk("Error %d: failed to configure %s pin %d\n",
				ret, SW0_GPIO_LABEL, SW0_GPIO_PIN);
		return;
	}

	ret = gpio_pin_interrupt_configure(button,
			SW0_GPIO_PIN,
			GPIO_INT_EDGE_TO_ACTIVE);
	if (ret != 0) {
		printk("Error %d: failed to configure interrupt on %s pin %d\n",
				ret, SW0_GPIO_LABEL, SW0_GPIO_PIN);
		return;
	}
#if defined(CONFIG_BOARD_PINETIME_DEVKIT1)
	//port 15 has to be high in order for the button to work


	gpio_pin_configure(button, SW1_GPIO_PIN,SW1_GPIO_FLAGS); //push button out
	gpio_pin_set(button, SW1_GPIO_PIN, 1); //set port high



#endif



	gpio_init_callback(&button_cb_data, button_pressed, BIT(SW0_GPIO_PIN));
	gpio_add_callback(button, &button_cb_data);
	printk("Set up button at %s pin %d\n", SW0_GPIO_LABEL, SW0_GPIO_PIN);



}
//#endif

//static struct gpio_callback button_cb;

/* ********** ********* ********** */


/* ********** init function ********** */
void event_handler_init()
{

	/* Start timers */
	k_timer_init(&clock_update_timer, handle_clock_update, NULL); //jj
	k_timer_start(&clock_update_timer,CLOCK_UPDATE, K_NO_WAIT); //jj

	clock_show_time();

	LOG_DBG("Event handler init: Done");
}
/* ********** ************ ********** */

/* ********** interrupt handlers ********** */


void button_pressed_isr(const struct device *gpiobtn, struct gpio_callback *cb, uint32_t pins)
{
	//backlight_switch(true);

	handle_button_event();
}


void handle_clock_update(struct k_timer *clock_update) //jj if clock displayed, it should get the updated time
{
	printk("handle_clock_update\n");
	clock_increment_local_time();
	clock_show_time();
	display_clock_update(); //multiple screens but clock only appears in 1st
	k_timer_start(clock_update,CLOCK_UPDATE, K_NO_WAIT); //timer gets started again -- perpetuum mobile
}


/* ********** ************** ********** */
int handle_button_event(void)
{
	clock_increment_local_time();
	clock_show_time();
	return 1;
}
```
